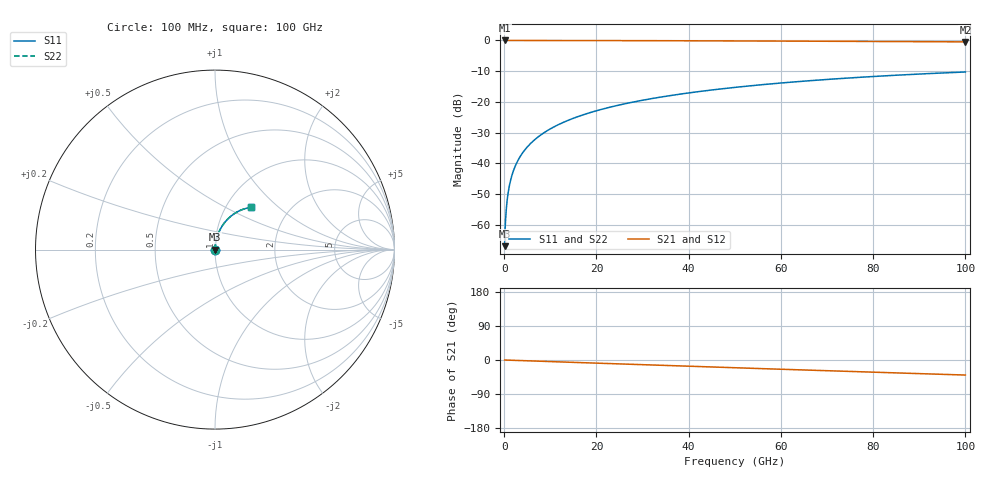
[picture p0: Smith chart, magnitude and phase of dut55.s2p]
! Touchstone file exported from HFSS 2026.1.0
!  File:  C:/ffzhzh/LocalFiles/Ansys_Project_Files/temp_train_TSV_55_1783505010_55944.aedt
!  Generated:  06:04:48 PM Jul  8, 2026
!  Design:  TSV
!  Project:  temp_train_TSV_55_1783505010_55944
! Variables:
!  h_bsmrdl = 2um
!  h_ox = 20um
!  h_rdl = 5um
!  h_sub = 64.87um
!  h_tmrdl = 5um
!  h_tsv = 64.87um
!  h_via = 3um
!  l_bsmrdl = 300um
!  l_sub = 412.78um
!  l_tmrdl = 200um
!  m_sub = 200um
!  pitch = 55.34um
!  r_tsv = 6.39um
!  s_tmrdl = 10um
!  w_bsmrdl = 18um
!  w_sub = 500um
!  w_tmrdl = 12um
!  x_tsv_center1 = 206um
!  x_tsv_center2 = 524um
!  x_tsv_center3 = 736um
!  x_tsv_center4 = 1054um
!  x_tsv_center5 = 1266um
!  x_tsv_center6 = 1584um
# GHz S MA R 50.000000
! Terminal data exported
! Port[1] = TSV1_1_T1
! Port[2] = TSV1_1_T2
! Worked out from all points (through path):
!   1000 points, 100 MHz to 100 GHz, reference 50 ohm
!   highest |S21| = 0.00 dB at 100 MHz (marker M1); lowest = -0.5 dB at 100 GHz (marker M2)
!   group delay of S21, straight-line fit = 1.1 ps
!   lowest |S11| = -66.9 dB at 100 MHz (marker M3), VSWR 1.00, Z = 50 + j0.0398 ohm
!   |S11| at or under -10 dB: start of sweep to end of sweep
!   |S22| runs from -66.9 to -10.3 dB; largest |S21 - S12| = 3.5e-15
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0.1  0.0004524 61.5  0.9998 -0.0  0.9998 -0.0  0.0004524 61.5
! Gamma 0 0 0 0
! Port Impedance 50 0 50 0
0.3  0.001196 78.3  0.9998 -0.1  0.9998 -0.1  0.001196 78.3
0.7  0.002705 83.8  0.9997 -0.3  0.9997 -0.3  0.002705 83.8
0.8  0.003083 84.3  0.9997 -0.3  0.9997 -0.3  0.003083 84.3
1  0.003838 85.0  0.9997 -0.4  0.9997 -0.4  0.003838 85.0
1.3  0.004966 85.5  0.9996 -0.6  0.9996 -0.6  0.004966 85.5
1.7  0.00646 85.8  0.9996 -0.7  0.9996 -0.7  0.00646 85.8
2.3  0.008679 85.9  0.9995 -1.0  0.9995 -1.0  0.008679 85.9
3  0.01124 85.9  0.9994 -1.3  0.9994 -1.3  0.01124 85.9
3.8  0.01415 85.9  0.9993 -1.6  0.9993 -1.6  0.01415 85.9
4.8  0.01777 85.7  0.9991 -2.0  0.9991 -2.0  0.01777 85.7
6  0.0221 85.4  0.999 -2.5  0.999 -2.5  0.0221 85.4
8.8  0.03218 84.6  0.9985 -3.7  0.9985 -3.7  0.03218 84.6
12.4  0.04505 83.4  0.9978 -5.2  0.9978 -5.2  0.04505 83.4
16.8  0.06067 81.8  0.9968 -7.0  0.9968 -7.0  0.06067 81.8
24.2  0.08662 78.9  0.9946 -10.0  0.9946 -10.0  0.08662 78.9
33.4  0.1182 75.3  0.9911 -13.8  0.9911 -13.8  0.1182 75.3
41.2  0.1442 72.3  0.9875 -16.9  0.9875 -16.9  0.1442 72.3
50.1  0.1728 68.8  0.9827 -20.5  0.9827 -20.5  0.1728 68.8
66.7  0.2229 62.3  0.9723 -27.0  0.9723 -27.0  0.2229 62.3
83.4  0.2681 56.0  0.9606 -33.5  0.9606 -33.5  0.2681 56.0
100  0.3072 49.8  0.9486 -39.7  0.9486 -39.7  0.3072 49.8
